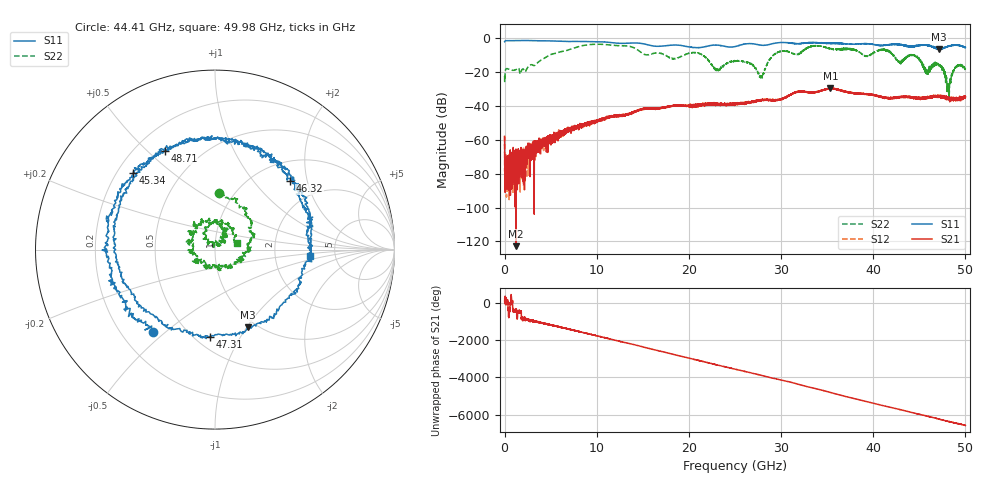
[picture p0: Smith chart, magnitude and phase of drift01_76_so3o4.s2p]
!Created with skrf (http://scikit-rf.org).
# Hz S RI R 50.0
!freq ReS11 ImS11 ReS21 ImS21 ReS12 ImS12 ReS22 ImS22
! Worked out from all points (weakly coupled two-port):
!   10001 points, 300 kHz to 50 GHz, reference 50 ohm
!   highest |S21| = -29.56 dB at 35.36 GHz (marker M1); lowest = -122.8 dB at 1.24 GHz (marker M2)
!   lowest |S11| = -6.5 dB at 47.14 GHz (marker M3), VSWR 2.78, Z = 45.5 - j50.7 ohm
!   |S11| at or under -10 dB: nowhere
!   |S22| runs from -37.3 to -3.6 dB; largest |S21 - S12| = 0.0041
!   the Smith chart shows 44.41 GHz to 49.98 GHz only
!   S11 on the Smith chart (normalised r, x): 44.41 GHz: 0.33, -0.46; 45.34 GHz: 0.27, +0.37; 46.32 GHz: 1.41, +1.58; 47.31 GHz: 0.59, -0.75; 48.71 GHz: 0.32, +0.57; 49.98 GHz: 3.22, -0.31
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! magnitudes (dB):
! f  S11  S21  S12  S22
! 300 kHz  -2.1  -58.2  -57.5  -22.4
! 255.3 MHz  -1.4  -72.1  -80.4  -18.0
! 1.24 GHz  -1.4  -122.8  -69.8  -18.5
! 8.335 GHz  -1.9  -52.0  -51.6  -4.5
! 16.67 GHz  -4.8  -41.4  -41.5  -8.7
! 20.99 GHz  -5.6  -39.7  -39.9  -8.8
! 23.1 GHz  -4.1  -39.2  -38.7  -18.6
! 25 GHz  -5.0  -38.8  -38.8  -13.7
! 27.86 GHz  -4.2  -36.5  -36.2  -23.0
! 29.44 GHz  -2.9  -36.5  -36.8  -9.0
! 33.34 GHz  -2.6  -32.0  -31.9  -4.8
! 35.36 GHz  -2.8  -29.6  -29.7  -6.3
! 41.67 GHz  -3.9  -35.4  -35.4  -8.0
! 44.41 GHz  -4.8  -35.2  -35.3  -10.0
! 45.34 GHz  -4.1  -35.5  -35.3  -16.2
! 46.32 GHz  -4.9  -35.0  -34.4  -17.8
! 47.14 GHz  -6.5  -34.7  -34.1  -16.3
! 47.31 GHz  -6.3  -34.8  -34.3  -16.7
! 48.2 GHz  -4.7  -35.5  -35.6  -31.0
! 48.71 GHz  -4.2  -37.1  -35.8  -19.1
! 49.98 GHz  -5.5  -35.5  -34.3  -17.9
! 50 GHz  -5.5  -34.6  -35.3  -18.2
